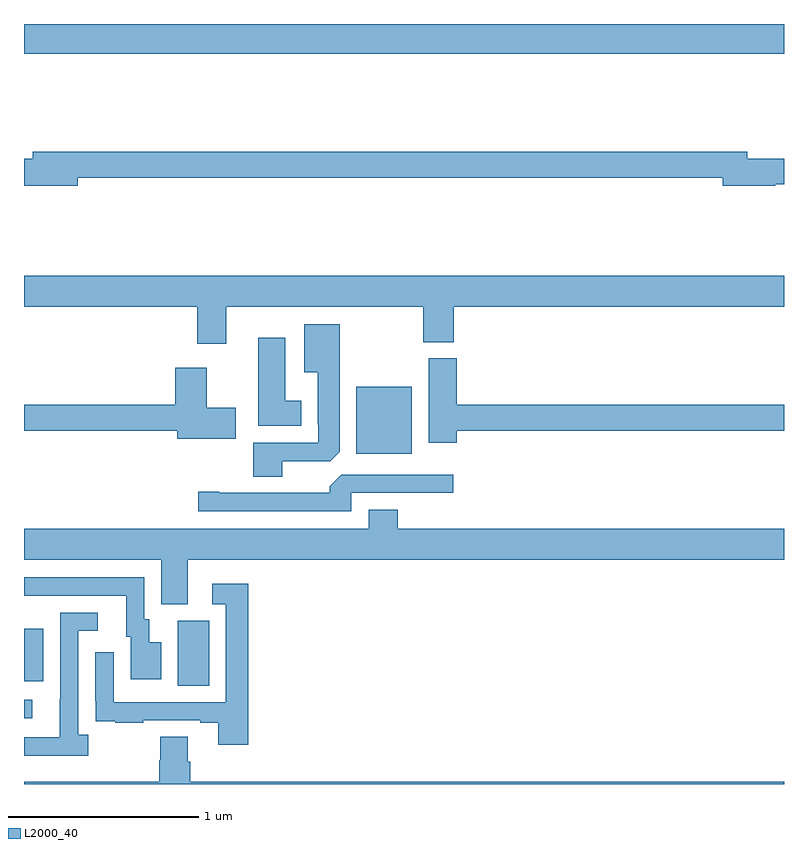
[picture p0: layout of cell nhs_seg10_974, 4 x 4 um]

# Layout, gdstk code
import gdstk
lib = gdstk.Library(unit=1e-6, precision=1e-09)
def R(c, l, rs):  # rectangles x0, y0, x1, y1
    for r in rs: c.add(gdstk.rectangle(r[:2], r[2:], *l))
def P(c, l, *ps):  # polygons
    for p in ps: c.add(gdstk.Polygon(p, *l))
L2000_40 = (2000, 40)

nhs_seg10_974 = lib.new_cell('nhs_seg10_974')
R(nhs_seg10_974, L2000_40, [(161,1268.847,161.044,1268.943), (161.81,1269.016,161.974,1269.36), (161,1269.041,161.101,1269.316), (162.749,1270.238,163.042,1270.591), (161,1272.344,165,1272.5)])
P(nhs_seg10_974, L2000_40, [(161.284,1271.692),(164.678,1271.692),(164.678,1271.65),(164.954,1271.65),(164.954,1271.657),(165,1271.657),(165,1271.792),(164.806,1271.792),(164.806,1271.828),(161.045,1271.828),(161.045,1271.792),(161,1271.792),(161,1271.65),(161.284,1271.65)],
  [(162.064,1271.012),(163.102,1271.012),(163.102,1270.825),(163.262,1270.825),(163.262,1271.012),(165,1271.012),(165,1271.176),(161,1271.176),(161,1271.012),(161.912,1271.012),(161.912,1270.818),(162.064,1270.818)],
  [(162.358,1270.2),(162.612,1270.2),(162.661,1270.249),(162.661,1270.921),(162.476,1270.921),(162.476,1270.667),(162.545,1270.667),(162.545,1270.393),(162.549,1270.393),(162.549,1270.296),(162.206,1270.296),(162.206,1270.117),(162.358,1270.117)],
  [(162.46,1270.516),(162.376,1270.516),(162.376,1270.849),(162.233,1270.849),(162.233,1270.385),(162.46,1270.385)],
  [(163.277,1270.36),(165,1270.36),(165,1270.496),(163.277,1270.496),(163.277,1270.74),(163.13,1270.74),(163.13,1270.296),(163.277,1270.296)],
  [(162.115,1270.479),(161.962,1270.479),(161.962,1270.69),(161.795,1270.69),(161.795,1270.496),(161,1270.496),(161,1270.36),(161.807,1270.36),(161.807,1270.316),(162.115,1270.316)],
  [(162.723,1270.032),(163.258,1270.032),(163.258,1270.128),(162.669,1270.128),(162.608,1270.066),(162.608,1270.032),(162.028,1270.032),(162.028,1270.037),(161.916,1270.037),(161.916,1269.936),(162.723,1269.936)],
  [(161.863,1269.68),(165,1269.68),(165,1269.844),(162.968,1269.844),(162.968,1269.943),(162.815,1269.943),(162.815,1269.844),(161,1269.844),(161,1269.68),(161.723,1269.68),(161.723,1269.445),(161.863,1269.445)],
  [(161.722,1269.247),(161.659,1269.247),(161.659,1269.366),(161.634,1269.366),(161.634,1269.588),(161,1269.588),(161,1269.492),(161.537,1269.492),(161.537,1269.276),(161.561,1269.276),(161.561,1269.051),(161.722,1269.051)],
  [(162.179,1269.553),(161.991,1269.553),(161.991,1269.447),(162.063,1269.447),(162.063,1268.931),(161.472,1268.931),(161.472,1269.193),(161.376,1269.193),(161.376,1268.938),(161.377,1268.938),(161.377,1268.829),(161.479,1268.829),(161.479,1268.823),(161.627,1268.823),(161.627,1268.835),(161.927,1268.835),(161.927,1268.823),(162.023,1268.823),(162.023,1268.706),(162.179,1268.706)],
  [(161.338,1268.758),(161.286,1268.758),(161.286,1269.306),(161.389,1269.306),(161.389,1269.402),(161.19,1269.402),(161.19,1268.945),(161.189,1268.945),(161.189,1268.745),(161,1268.745),(161,1268.648),(161.338,1268.648)],
  [(165,1268.512),(161.876,1268.512),(161.876,1268.618),(161.863,1268.618),(161.863,1268.75),(161.716,1268.75),(161.716,1268.625),(161.711,1268.625),(161.711,1268.512),(161,1268.512),(161,1268.5),(165,1268.5)])

lib.write_gds('nhs_seg10_974.gds')
